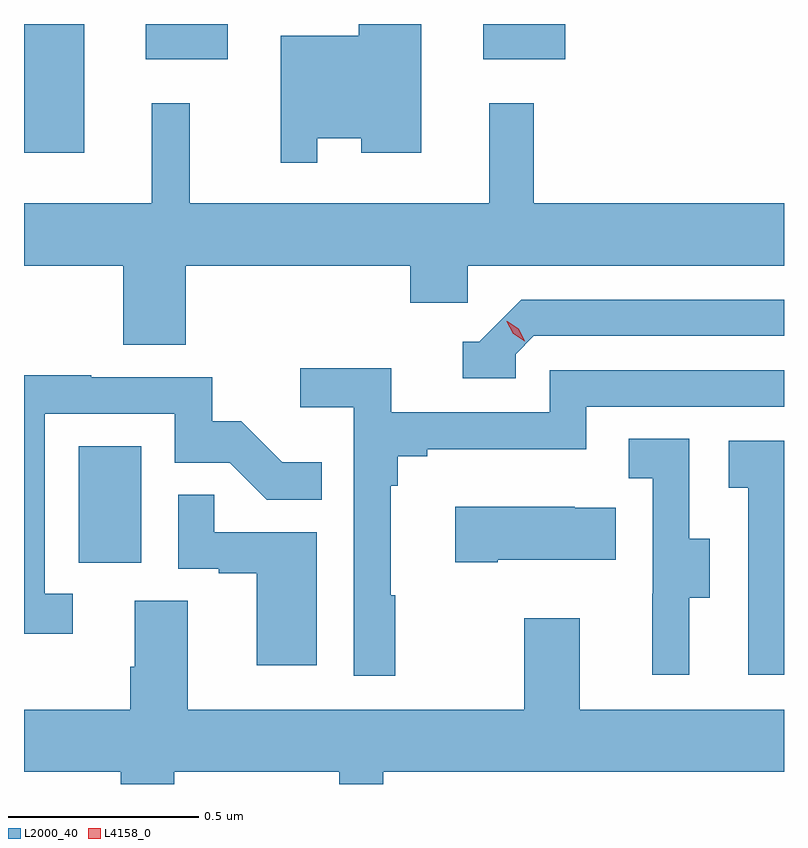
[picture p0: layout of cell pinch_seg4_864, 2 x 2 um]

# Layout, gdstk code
import gdstk
lib = gdstk.Library(unit=1e-6, precision=1e-09)
def R(c, l, rs):  # rectangles x0, y0, x1, y1
    for r in rs: c.add(gdstk.rectangle(r[:2], r[2:], *l))
def P(c, l, *ps):  # polygons
    for p in ps: c.add(gdstk.Polygon(p, *l))
L2000_40 = (2000, 40)
L4158_0 = (4158, 0)

pinch_seg4_864 = lib.new_cell('pinch_seg4_864')
R(pinch_seg4_864, L2000_40, [(857.072,804.03,857.236,804.337), (856.928,805.109,857.086,805.448), (857.249,805.355,857.464,805.448), (858.137,805.355,858.352,805.448)])
P(pinch_seg4_864, L2000_40, [(857.7,805.148),(857.816,805.148),(857.816,805.109),(857.974,805.109),(857.974,805.448),(857.809,805.448),(857.809,805.417),(857.604,805.417),(857.604,805.083),(857.7,805.083)],
  [(857.354,804.812),(857.945,804.812),(857.945,804.714),(858.096,804.714),(858.096,804.812),(858.928,804.812),(858.928,804.976),(858.269,804.976),(858.269,805.24),(858.152,805.24),(858.152,804.976),(857.364,804.976),(857.364,805.24),(857.264,805.24),(857.264,804.976),(856.928,804.976),(856.928,804.812),(857.189,804.812),(857.189,804.604),(857.354,804.604)],
  [(858.222,804.579),(858.27,804.627),(858.928,804.627),(858.928,804.723),(858.237,804.723),(858.126,804.612),(858.083,804.612),(858.083,804.516),(858.222,804.516)],
  [(857.905,803.945),(857.893,803.945),(857.893,804.233),(857.912,804.233),(857.912,804.31),(857.989,804.31),(857.989,804.329),(858.408,804.329),(858.408,804.441),(858.928,804.441),(858.928,804.537),(858.312,804.537),(858.312,804.426),(857.894,804.426),(857.894,804.542),(857.655,804.542),(857.655,804.44),(857.796,804.44),(857.796,803.733),(857.905,803.733)],
  [(857.056,803.949),(856.983,803.949),(856.983,804.423),(857.325,804.423),(857.325,804.294),(857.469,804.294),(857.567,804.196),(857.711,804.196),(857.711,804.295),(857.607,804.295),(857.5,804.402),(857.424,804.402),(857.424,804.519),(857.105,804.519),(857.105,804.524),(856.928,804.524),(856.928,803.844),(857.056,803.844)],
  [(858.679,803.938),(858.733,803.938),(858.733,804.093),(858.678,804.093),(858.678,804.356),(858.519,804.356),(858.519,804.253),(858.582,804.253),(858.582,803.949),(858.581,803.949),(858.581,803.736),(858.679,803.736)],
  [(858.928,804.351),(858.783,804.351),(858.783,804.227),(858.834,804.227),(858.834,803.736),(858.928,803.736)],
  [(857.698,804.111),(857.429,804.111),(857.429,804.209),(857.334,804.209),(857.334,804.015),(857.441,804.015),(857.441,804.003),(857.54,804.003),(857.54,803.76),(857.698,803.76)],
  [(858.175,804.038),(858.485,804.038),(858.485,804.175),(858.377,804.175),(858.377,804.178),(858.063,804.178),(858.063,804.031),(858.175,804.031)],
  [(857.323,803.48),(857.757,803.48),(857.757,803.448),(857.873,803.448),(857.873,803.48),(858.928,803.48),(858.928,803.644),(858.391,803.644),(858.391,803.884),(858.244,803.884),(858.244,803.644),(857.359,803.644),(857.359,803.93),(857.219,803.93),(857.219,803.756),(857.207,803.756),(857.207,803.644),(856.928,803.644),(856.928,803.48),(857.183,803.48),(857.183,803.448),(857.323,803.448)])
P(pinch_seg4_864, L4158_0, [(858.246,804.613),(858.215,804.633),(858.199,804.665),(858.199,804.666),(858.2,804.666),(858.23,804.646),(858.246,804.613),(858.246,804.613)])

lib.write_gds('pinch_seg4_864.gds')
